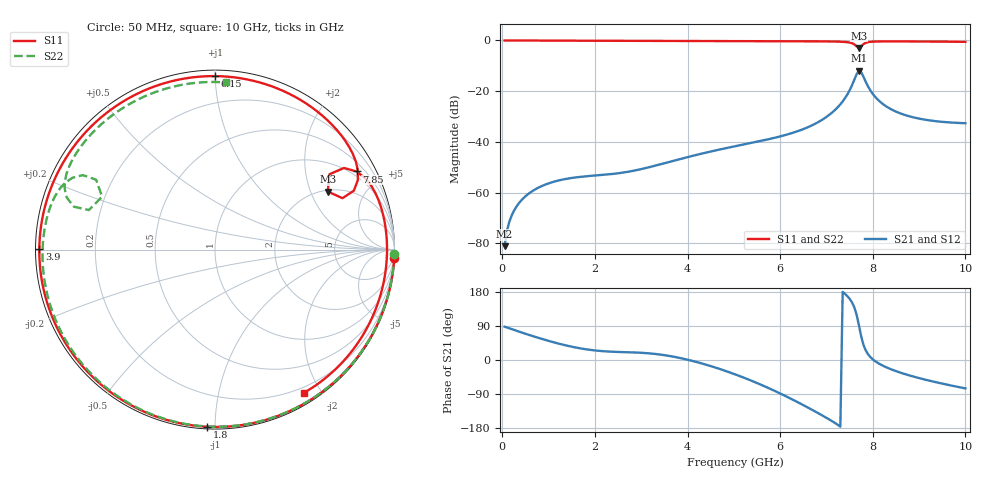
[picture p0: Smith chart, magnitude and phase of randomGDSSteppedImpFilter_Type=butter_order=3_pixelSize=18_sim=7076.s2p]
! freq	dB(S11)	phase(S11)	dB(S12)	phase(S12)
!  dB(S21)	phase(S21)	dB(S22)	phase(S22)
!S-par simulation data
#  GHz  S  DB  R 50
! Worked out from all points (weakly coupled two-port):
!   200 points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, 50 MHz to 10 GHz, reference 50 ohm
!   highest |S21| = -11.98 dB at 7.7 GHz (marker M1); lowest = -81.1 dB at 50 MHz (marker M2)
!   lowest |S11| = -3.0 dB at 7.7 GHz (marker M3), VSWR 5.82, Z = 103 + j133 ohm
!   |S11| at or under -10 dB: nowhere
!   |S22| runs from -3.2 to 0.0 dB; largest |S21 - S12| = 0
!   S11 on the Smith chart (normalised r, x): 50 MHz: 0, -42; 1.8 GHz: 0.01, -0.96; 3.9 GHz: 0.01, +0.00; 6.15 GHz: 0.03, +1.00; 7.85 GHz: 0.80, +3.72; 10 GHz: 0.13, -1.78
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0.05  -0.00 -2.8  -81.11 87.8  -81.11 87.8  -0.00 -1.5
0.2  -0.02 -11.0  -69.12 81.6  -69.12 81.6  -0.01 -5.9
0.5  -0.04 -27.1  -61.44 69.3  -61.44 69.3  -0.02 -14.7
1.15  -0.07 -61.0  -55.51 45.4  -55.51 45.4  -0.04 -33.6
1.75  -0.10 -90.2  -53.66 29.3  -53.66 29.3  -0.06 -50.6
1.8  -0.11 -92.5  -53.57 28.4  -53.57 28.4  -0.07 -52.0
2.5  -0.13 -123.6  -52.38 21.3  -52.38 21.3  -0.09 -71.2
3.4  -0.17 -160.4  -48.90 14.5  -48.90 14.5  -0.12 -94.9
3.9  -0.19 179.9  -46.47 3.6  -46.47 3.6  -0.14 -107.6
4.45  -0.21 158.5  -44.00 -14.2  -44.00 -14.2  -0.17 -121.4
5.05  -0.24 134.9  -41.62 -38.9  -41.62 -38.9  -0.20 -136.3
6.15  -0.29 90.1  -37.10 -97.2  -37.10 -97.2  -0.28 -163.8
6.7  -0.33 66.7  -33.36 -132.1  -33.36 -132.1  -0.34 -178.3
7.3  -0.49 39.7  -25.18 -175.7  -25.18 -175.7  -0.49 163.9
7.55  -1.07 25.9  -17.74 152.4  -17.74 152.4  -1.02 153.2
7.7  -3.02 27.2  -11.98 92.1  -11.98 92.1  -3.17 154.9
7.75  -2.34 33.4  -12.51 62.1  -12.51 62.1  -2.66 162.6
7.85  -0.90 28.9  -16.39 24.9  -16.39 24.9  -1.15 160.6
8.05  -0.43 16.8  -22.20 -2.9  -22.20 -2.9  -0.60 151.1
8.35  -0.37 2.9  -26.66 -22.3  -26.66 -22.3  -0.51 140.5
9.1  -0.42 -26.7  -31.16 -50.9  -31.16 -50.9  -0.54 116.3
10  -0.54 -58.3  -32.62 -75.0  -32.62 -75.0  -0.60 86.2
